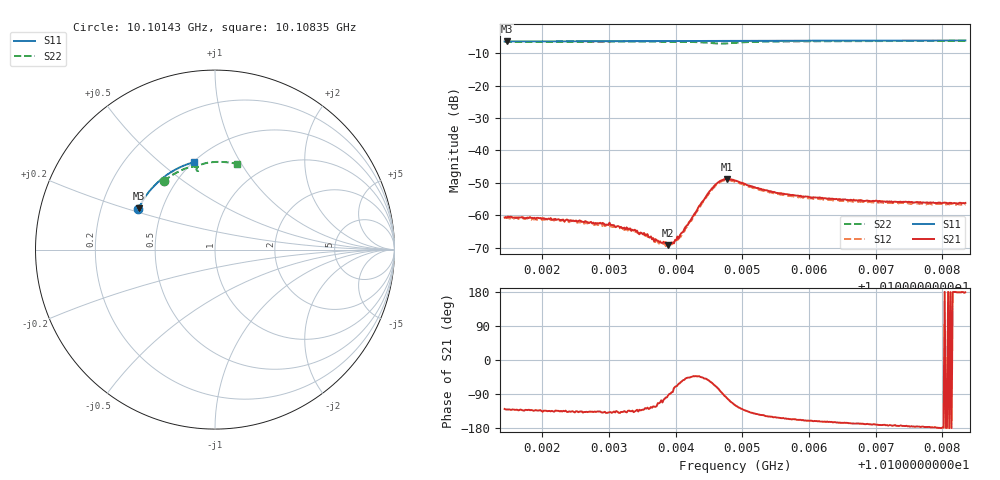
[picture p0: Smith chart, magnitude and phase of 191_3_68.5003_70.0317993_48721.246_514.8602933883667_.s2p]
#  HZ  S  RI  R  50.00
! Rohde & Schwarz Vector Network Analyzer
! Rohde-Schwarz,ZNB20-2Port,1311601062101988,3.16
! Created: UTC 3/20/2024, 4:57:07 PM
! freq[Hz]  re:S11  im:S11  re:S21  im:S21  re:S12  im:S12  re:S22  im:S22
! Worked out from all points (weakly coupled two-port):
!   401 points, 10.10143 GHz to 10.10835 GHz, reference 50 ohm
!   highest |S21| = -48.78 dB at 10.10477 GHz (marker M1); lowest = -69.2 dB at 10.10389 GHz (marker M2)
!   lowest |S11| = -6.3 dB at 10.10147 GHz (marker M3), VSWR 2.87, Z = 18.4 + j11 ohm
!   |S11| at or under -10 dB: nowhere
!   |S22| runs from -7.0 to -6.1 dB; largest |S21 - S12| = 0.00039
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1.0101432e10  -0.4266 0.2276  -0.000584 -0.000716  -0.000523 -0.000742  -0.2843 0.3817
1.0101466e10  -0.4255 0.2294  -0.000591 -0.000693  -0.000536 -0.000749  -0.2827 0.3829
1.0102469e10  -0.3958 0.2829  -0.000601 -0.000563  -0.000544 -0.000593  -0.2292 0.4205
1.010259e10  -0.3918 0.2891  -0.00057 -0.000555  -0.000533 -0.000534  -0.2222 0.4245
1.0103039e10  -0.3762 0.3113  -0.000534 -0.00046  -0.000451 -0.000491  -0.1958 0.4385
1.0103282e10  -0.3671 0.3231  -0.000425 -0.000439  -0.00037 -0.000451  -0.1808 0.4453
1.0103541e10  -0.3571 0.335  -0.000291 -0.000387  -0.000293 -0.000418  -0.1641 0.4519
1.0103748e10  -0.3488 0.3447  -0.000161 -0.000357  -0.000114 -0.000347  -0.1502 0.4566
1.0103887e10  -0.3432 0.3509  -1.79e-05 -0.000345  1.12e-05 -0.000344  -0.1401 0.4594
1.0103973e10  -0.3396 0.3549  0.000101 -0.000354  0.000125 -0.000369  -0.1337 0.4606
1.010406e10  -0.3357 0.3585  0.00023 -0.000423  0.000267 -0.000369  -0.1269 0.4616
1.0104215e10  -0.3291 0.3652  0.000565 -0.000584  0.00061 -0.000531  -0.1138 0.462
1.0104423e10  -0.3201 0.3739  0.00114 -0.00129  0.00124 -0.00113  -0.0959 0.4564
1.0104561e10  -0.3139 0.3794  0.00122 -0.00242  0.00138 -0.00223  -0.0892 0.4456
1.0104665e10  -0.3092 0.3835  0.000502 -0.00333  0.000773 -0.00315  -0.0928 0.4384
1.0104768e10  -0.3045 0.3876  -0.000676 -0.00357  -0.000339 -0.00349  -0.1004 0.4399
1.0104889e10  -0.299 0.3923  -0.00167 -0.00299  -0.00132 -0.00303  -0.1027 0.4497
1.0105183e10  -0.2851 0.4035  -0.00211 -0.0017  -0.00188 -0.00177  -0.0865 0.4691
1.0105477e10  -0.2709 0.4141  -0.002 -0.00111  -0.0018 -0.00122  -0.0655 0.4781
1.0106048e10  -0.2421 0.4333  -0.00177 -0.000618  -0.00165 -0.000749  -0.0259 0.4859
1.0107206e10  -0.1797 0.4654  -0.00162 -0.00023  -0.00151 -0.000349  0.0504 0.488
1.0108347e10  -0.1144 0.4878  -0.00155 3.91e-05  -0.00146 -0.000101  0.1232 0.4775
